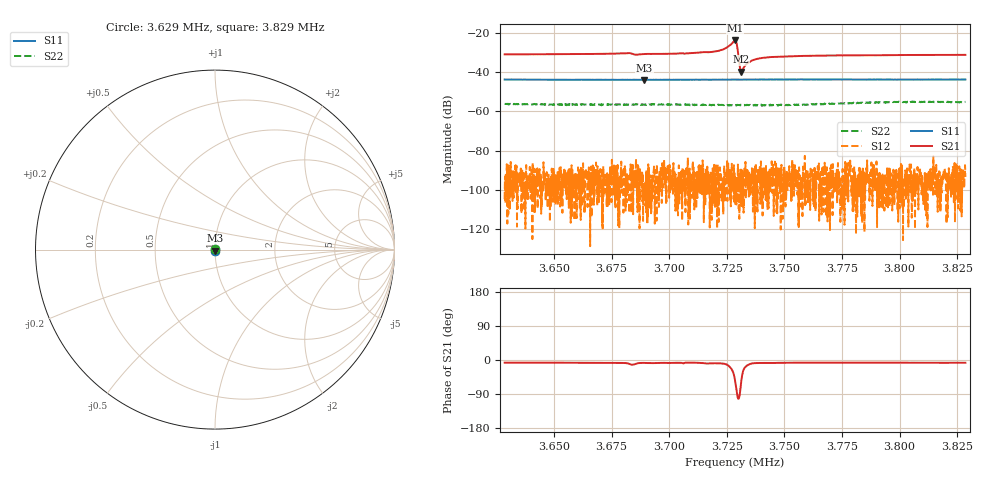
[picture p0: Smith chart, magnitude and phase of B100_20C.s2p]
# Hz S dB R 50.000
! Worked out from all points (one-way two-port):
!   6401 points, 3.629 MHz to 3.829 MHz, reference 50 ohm
!   highest |S21| = -23.74 dB at 3.729 MHz (marker M1); lowest = -39.7 dB at 3.731 MHz (marker M2)
!   lowest |S11| = -43.9 dB at 3.689 MHz (marker M3), VSWR 1.01, Z = 50 - j0.638 ohm
!   |S11| at or under -10 dB: start of sweep to end of sweep
!   |S22| runs from -57.2 to -54.9 dB; largest |S21 - S12| = 0.065
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3628594  -43.69 -88.7  -30.83 -6.9  -104.79 -102.4  -56.13 97.8
3661938  -43.80 -88.5  -30.66 -7.2  -100.90 -20.3  -56.55 101.3
3682344  -43.86 -88.2  -30.17 -9.4  -98.31 -130.6  -56.53 102.6
3685625  -43.84 -88.6  -31.01 -10.0  -84.18 91.6  -56.31 102.8
3689219  -43.90 -88.5  -30.67 -7.7  -96.86 135.7  -56.57 103.3
3695282  -43.84 -88.5  -30.65 -8.1  -96.51 -56.1  -56.56 103.3
3707282  -43.79 -88.3  -30.38 -7.1  -90.28 55.1  -56.67 105.3
3719782  -43.76 -88.2  -29.38 -8.5  -99.34 91.8  -56.78 104.3
3723782  -43.75 -88.3  -28.15 -9.8  -95.97 54.1  -56.69 104.9
3727969  -43.72 -88.4  -24.37 -35.9  -97.13 88.0  -56.85 105.2
3728594  -43.71 -88.3  -23.74 -53.0  -95.97 173.0  -56.91 105.3
3728969  -43.72 -88.3  -24.10 -68.2  -95.63 -24.7  -56.80 106.4
3729344  -43.70 -88.2  -25.54 -84.9  -95.81 -21.3  -56.77 105.2
3730625  -43.72 -88.5  -36.67 -92.3  -91.45 132.3  -56.80 105.5
3731250  -43.71 -88.4  -39.66 -59.3  -95.51 46.1  -56.68 105.0
3731875  -43.71 -88.0  -38.83 -34.9  -90.41 53.4  -56.91 106.1
3733500  -43.72 -88.4  -35.85 -16.2  -96.67 26.9  -56.81 104.1
3735406  -43.71 -88.4  -34.32 -9.9  -97.30 127.9  -56.82 104.7
3739250  -43.68 -88.4  -32.85 -7.9  -93.81 100.4  -56.79 104.6
3761938  -43.70 -88.5  -31.55 -7.1  -91.14 50.7  -56.25 100.5
3795282  -43.72 -88.7  -31.21 -6.8  -90.67 105.2  -55.29 96.5
3828594  -43.68 -88.4  -31.09 -7.3  -93.46 -13.5  -55.09 98.0
